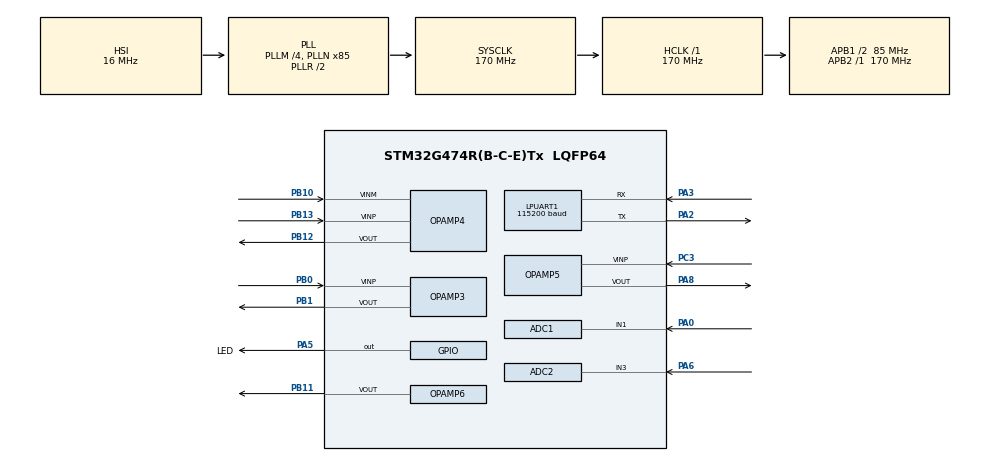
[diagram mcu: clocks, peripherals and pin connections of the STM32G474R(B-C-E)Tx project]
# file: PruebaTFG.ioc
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ADC1.Channel-2\#ChannelRegularConversion=ADC_CHANNEL_1
ADC1.ContinuousConvMode=DISABLE
ADC1.ExternalTrigConv=ADC_EXTERNALTRIG_T3_TRGO
ADC1.ExternalTrigConvEdge=ADC_EXTERNALTRIGCONVEDGE_FALLING
ADC1.NbrOfConversionFlag=1
ADC1.OffsetNumber-2\#ChannelRegularConversion=ADC_OFFSET_NONE
ADC1.Rank-2\#ChannelRegularConversion=1
ADC1.SamplingTime-2\#ChannelRegularConversion=ADC_SAMPLETIME_2CYCLES_5
ADC1.master=1
ADC2.Channel-0\#ChannelRegularConversion=ADC_CHANNEL_3
ADC2.ExternalTrigConv=ADC_EXTERNALTRIG_T3_TRGO
ADC2.ExternalTrigConvEdge=ADC_EXTERNALTRIGCONVEDGE_FALLING
ADC2.NbrOfConversionFlag=1
ADC2.OffsetNumber-0\#ChannelRegularConversion=ADC_OFFSET_NONE
ADC2.Rank-0\#ChannelRegularConversion=1
ADC2.SamplingTime-0\#ChannelRegularConversion=ADC_SAMPLETIME_2CYCLES_5
DAC3.DAC_Trigger_OUT1-DAC_OUT1_Int=DAC_TRIGGER_T3_TRGO
Dma.ADC1.2.Direction=DMA_PERIPH_TO_MEMORY
Dma.ADC1.2.EventEnable=DISABLE
Dma.ADC1.2.Instance=DMA1_Channel2
Dma.ADC1.2.MemDataAlignment=DMA_MDATAALIGN_WORD
Dma.ADC1.2.MemInc=DMA_MINC_ENABLE
Dma.ADC1.2.Mode=DMA_CIRCULAR
Dma.ADC1.2.PeriphDataAlignment=DMA_PDATAALIGN_WORD
Dma.ADC1.2.PeriphInc=DMA_PINC_DISABLE
Dma.ADC1.2.Polarity=HAL_DMAMUX_REQ_GEN_RISING
Dma.ADC1.2.Priority=DMA_PRIORITY_HIGH
Dma.ADC1.2.RequestNumber=1
Dma.ADC1.2.SignalID=NONE
Dma.ADC1.2.SyncEnable=DISABLE
Dma.ADC1.2.SyncPolarity=HAL_DMAMUX_SYNC_NO_EVENT
Dma.ADC1.2.SyncRequestNumber=1
Dma.ADC1.2.SyncSignalID=NONE
Dma.ADC2.1.Direction=DMA_PERIPH_TO_MEMORY
Dma.ADC2.1.EventEnable=DISABLE
Dma.ADC2.1.Instance=DMA1_Channel3
Dma.ADC2.1.MemDataAlignment=DMA_MDATAALIGN_WORD
Dma.ADC2.1.MemInc=DMA_MINC_ENABLE
Dma.ADC2.1.Mode=DMA_CIRCULAR
Dma.ADC2.1.PeriphDataAlignment=DMA_PDATAALIGN_WORD
Dma.ADC2.1.PeriphInc=DMA_PINC_DISABLE
Dma.ADC2.1.Polarity=HAL_DMAMUX_REQ_GEN_RISING
Dma.ADC2.1.Priority=DMA_PRIORITY_HIGH
Dma.ADC2.1.RequestNumber=1
Dma.ADC2.1.SignalID=NONE
Dma.ADC2.1.SyncEnable=DISABLE
Dma.ADC2.1.SyncPolarity=HAL_DMAMUX_SYNC_NO_EVENT
Dma.ADC2.1.SyncRequestNumber=1
Dma.ADC2.1.SyncSignalID=NONE
Dma.DAC3_CH1.0.Direction=DMA_MEMORY_TO_PERIPH
Dma.DAC3_CH1.0.EventEnable=DISABLE
Dma.DAC3_CH1.0.Instance=DMA1_Channel1
Dma.DAC3_CH1.0.MemDataAlignment=DMA_MDATAALIGN_WORD
Dma.DAC3_CH1.0.MemInc=DMA_MINC_ENABLE
Dma.DAC3_CH1.0.Mode=DMA_CIRCULAR
Dma.DAC3_CH1.0.PeriphDataAlignment=DMA_PDATAALIGN_WORD
Dma.DAC3_CH1.0.PeriphInc=DMA_PINC_DISABLE
Dma.DAC3_CH1.0.Polarity=HAL_DMAMUX_REQ_GEN_RISING
Dma.DAC3_CH1.0.Priority=DMA_PRIORITY_HIGH
Dma.DAC3_CH1.0.RequestNumber=1
Dma.DAC3_CH1.0.SignalID=NONE
Dma.DAC3_CH1.0.SyncEnable=DISABLE
Dma.DAC3_CH1.0.SyncPolarity=HAL_DMAMUX_SYNC_NO_EVENT
Dma.DAC3_CH1.0.SyncRequestNumber=1
Dma.DAC3_CH1.0.SyncSignalID=NONE
Dma.Request0=DAC3_CH1
Dma.Request1=ADC2
Dma.Request2=ADC1
LPUART1.BaudRate=115200
Mcu.Family=STM32G4
Mcu.Name=STM32G474R(B-C-E)Tx
Mcu.Package=LQFP64
NVIC.DMA1_Channel1_IRQn=true\:0\:0\:false\:false\:true\:false\:true\:true
NVIC.DMA1_Channel2_IRQn=true\:0\:0\:false\:false\:true\:false\:true\:true
NVIC.DMA1_Channel3_IRQn=true\:0\:0\:false\:false\:true\:false\:true\:true
NVIC.PriorityGroup=NVIC_PRIORITYGROUP_4
NVIC.TIM3_IRQn=true\:0\:0\:false\:false\:true\:true\:true\:true
OPAMP3.PowerMode=OPAMP_POWERMODE_HIGHSPEED
OPAMP4.PowerMode=OPAMP_POWERMODE_HIGHSPEED
PA0.Mode=IN1-Single-Ended
PA0.Signal=ADC1_IN1
PA2.Mode=Asynchronous
PA2.Signal=LPUART1_TX
PA3.Mode=Asynchronous
PA3.Signal=LPUART1_RX
PA5.GPIO_Label=LED
PA5.Signal=GPIO_Output
PA6.Mode=IN3-Single-Ended
PA6.Signal=ADC2_IN3
PA8.Mode=Follower
PA8.Signal=OPAMP5_VOUT
PB0.Mode=Follower
PB0.Signal=OPAMP3_VINP
PB1.Mode=Follower
PB1.Signal=OPAMP3_VOUT
PB10.Mode=Standalone
PB10.Signal=OPAMP4_VINM
PB11.Mode=Follower-DAC_OUT2-INP
PB11.Signal=OPAMP6_VOUT
PB12.Mode=Standalone
PB12.Signal=OPAMP4_VOUT
PB13.Mode=Standalone
PB13.Signal=OPAMP4_VINP
PC3.Mode=Follower
PC3.Signal=OPAMP5_VINP
ProjectManager.HeapSize=0x200
ProjectManager.StackSize=0x400
ProjectManager.TargetToolchain=STM32CubeIDE
RCC.ADC12Freq_Value=170000000
RCC.ADC345Freq_Value=170000000
RCC.AHBFreq_Value=170000000
RCC.APB1CLKDivider=RCC_HCLK_DIV2
RCC.APB1Freq_Value=85000000
RCC.APB1TimFreq_Value=170000000
RCC.APB2Freq_Value=170000000
RCC.APB2TimFreq_Value=170000000
RCC.CortexFreq_Value=170000000
RCC.EXTERNAL_CLOCK_VALUE=12288000
RCC.HCLKFreq_Value=170000000
RCC.HSE_VALUE=8000000
RCC.HSI48_VALUE=48000000
RCC.HSI_VALUE=16000000
RCC.LSE_VALUE=32768
RCC.PLLM=RCC_PLLM_DIV4
RCC.PLLN=85
RCC.SYSCLKFreq_VALUE=170000000
RCC.SYSCLKSource=RCC_SYSCLKSOURCE_PLLCLK
RCC.USBFreq_Value=170000000
RCC.VCOOutputFreq_Value=340000000
TIM3.PeriodNoDither=52
TIM3.Prescaler=1
TIM3.TIM_MasterOutputTrigger=TIM_TRGO_UPDATE
VP_DAC3_VS_DACI1.Mode=DAC_OUT1_Int
VP_TIM3_VS_ClockSourceINT.Mode=Internal
board=custom

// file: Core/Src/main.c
/* USER CODE BEGIN Header */
/**
  ******************************************************************************
  * @file           : main.c
  * @brief          : Main program body
  ******************************************************************************
  * @attention
  *
  * Copyright (c) 2023 STMicroelectronics.
  * All rights reserved.
  *
  * This software is licensed under terms that can be found in the LICENSE file
  * in the root directory of this software component.
  * If no LICENSE file comes with this software, it is provided AS-IS.
  *
  ******************************************************************************
  */
/* USER CODE END Header */
#include "main.h"

/* USER CODE BEGIN Includes */
#include "math.h"
/* USER CODE END Includes */

ADC_HandleTypeDef hadc1;
ADC_HandleTypeDef hadc2;
DMA_HandleTypeDef hdma_adc1;
DMA_HandleTypeDef hdma_adc2;

DAC_HandleTypeDef hdac3;
DMA_HandleTypeDef hdma_dac3_ch1;

UART_HandleTypeDef hlpuart1;

OPAMP_HandleTypeDef hopamp3;
OPAMP_HandleTypeDef hopamp4;
OPAMP_HandleTypeDef hopamp5;
OPAMP_HandleTypeDef hopamp6;

TIM_HandleTypeDef htim3;

/* USER CODE BEGIN PV */

uint32_t frequency = 100000; //Frecuencia en Hz

#define TAM_LUT 32
uint32_t amp = 2048;
uint32_t lut[TAM_LUT] = {0};
uint32_t lut_size = sizeof(lut)/sizeof(lut[0]);
#define TAM_BUFFER TAM_LUT*10
uint32_t adc1_buffer[TAM_BUFFER] = {0};
uint32_t adc2_buffer[TAM_BUFFER] = {0};
/* USER CODE END PV */

void SystemClock_Config(void);
static void MX_DMA_Init(void);
static void MX_GPIO_Init(void);
static void MX_TIM3_Init(void);
static void MX_DAC3_Init(void);
static void MX_OPAMP6_Init(void);
static void MX_ADC1_Init(void);
static void MX_OPAMP3_Init(void);
static void MX_OPAMP4_Init(void);
static void MX_OPAMP5_Init(void);
static void MX_ADC2_Init(void);
static void MX_LPUART1_UART_Init(void);
/* USER CODE BEGIN PFP */
#ifdef __GNUC__
#define PUTCHAR_PROTOTYPE int __io_putchar(int ch)
#else
#define PUTCHAR_PROTOTYPE int fputc(int ch, FILE *f)
#endif
/* USER CODE END PFP */

int main(void)
{

  /* MCU Configuration--------------------------------------------------------*/

  /* Reset of all peripherals, Initializes the Flash interface and the Systick. */
  HAL_Init();

  /* Configure the system clock */
  SystemClock_Config();

  /* Initialize all configured peripherals */
  MX_DMA_Init();
  MX_GPIO_Init();
  MX_TIM3_Init();
  MX_DAC3_Init();
  MX_OPAMP6_Init();
  MX_ADC1_Init();
  MX_OPAMP3_Init();
  MX_OPAMP4_Init();
  MX_OPAMP5_Init();
  MX_ADC2_Init();
  MX_LPUART1_UART_Init();
  /* USER CODE BEGIN 2 */

  printf("Hello World %i\n", 12);

  HAL_TIM_Base_DeInit(&htim3);

  ajustaTimers();
  calculaLut();

  //Timers
  if (HAL_TIM_Base_Init(&htim3) != HAL_OK){Error_Handler();}

  HAL_TIM_Base_Start(&htim3);

  //OPAMS
  if(HAL_OK != HAL_OPAMP_Start(&hopamp6)) { Error_Handler();}
  if(HAL_OK != HAL_OPAMP_Start(&hopamp4)) { Error_Handler();}
  if(HAL_OK != HAL_OPAMP_Start(&hopamp3)) { Error_Handler();}

  if(HAL_OK != HAL_OPAMP_Start(&hopamp5)) { Error_Handler();}

  //DAC
  if(HAL_DACEx_DualSetValue(&hdac3, DAC_ALIGN_12B_R, 0, 0) != HAL_OK) {
	  Error_Handler();
  }
  if(HAL_DACEx_DualStart_DMA(&hdac3,DAC_CHANNEL_1,(uint32_t*)lut,lut_size,DAC_ALIGN_12B_R)!= HAL_OK){
	  Error_Handler();
  }

  HAL_Delay(10);		// Wait 10ms so that the signal is stable.

  //ADC
  if (HAL_ADC_Start_DMA(&hadc1,(uint32_t *)adc1_buffer,TAM_BUFFER) != HAL_OK){
	  Error_Handler();
  }
  if (HAL_ADC_Start_DMA(&hadc2,(uint32_t *)adc2_buffer,TAM_BUFFER) != HAL_OK){
	  Error_Handler();
  }
  /* USER CODE END 2 */

  /* Infinite loop */
  /* USER CODE BEGIN WHILE */
  while (1)
  {

	HAL_GPIO_TogglePin(LED_GPIO_Port, LED_Pin);
	HAL_Delay(1000);

	printf("<M1>");
	for(int j=0; j<TAM_BUFFER; j++){
		printf("%d,",adc1_buffer[j]);
	}
	printf("</M1>\n\r");

	printf("<M2>");
	for(int j=0; j<TAM_BUFFER; j++){
		printf("%d,",adc2_buffer[j]);
	}
	printf("</M2>\n\r");

    /* USER CODE END WHILE */

  }
}

void SystemClock_Config(void)
{
  RCC_OscInitTypeDef RCC_OscInitStruct = {0};
  RCC_ClkInitTypeDef RCC_ClkInitStruct = {0};

  /** Configure the main internal regulator output voltage
  */
  HAL_PWREx_ControlVoltageScaling(PWR_REGULATOR_VOLTAGE_SCALE1_BOOST);

  /** Initializes the RCC Oscillators according to the specified parameters
  * in the RCC_OscInitTypeDef structure.
  */
  RCC_OscInitStruct.OscillatorType = RCC_OSCILLATORTYPE_HSI;
  RCC_OscInitStruct.HSIState = RCC_HSI_ON;
  RCC_OscInitStruct.HSICalibrationValue = RCC_HSICALIBRATION_DEFAULT;
  RCC_OscInitStruct.PLL.PLLState = RCC_PLL_ON;
  RCC_OscInitStruct.PLL.PLLSource = RCC_PLLSOURCE_HSI;
  RCC_OscInitStruct.PLL.PLLM = RCC_PLLM_DIV4;
  RCC_OscInitStruct.PLL.PLLN = 85;
  RCC_OscInitStruct.PLL.PLLP = RCC_PLLP_DIV2;
  RCC_OscInitStruct.PLL.PLLQ = RCC_PLLQ_DIV2;
  RCC_OscInitStruct.PLL.PLLR = RCC_PLLR_DIV2;
  if (HAL_RCC_OscConfig(&RCC_OscInitStruct) != HAL_OK)
  {
    Error_Handler();
  }

  /** Initializes the CPU, AHB and APB buses clocks
  */
  RCC_ClkInitStruct.ClockType = RCC_CLOCKTYPE_HCLK|RCC_CLOCKTYPE_SYSCLK
                              |RCC_CLOCKTYPE_PCLK1|RCC_CLOCKTYPE_PCLK2;
  RCC_ClkInitStruct.SYSCLKSource = RCC_SYSCLKSOURCE_PLLCLK;
  RCC_ClkInitStruct.AHBCLKDivider = RCC_SYSCLK_DIV1;
  RCC_ClkInitStruct.APB1CLKDivider = RCC_HCLK_DIV2;
  RCC_ClkInitStruct.APB2CLKDivider = RCC_HCLK_DIV1;

  if (HAL_RCC_ClockConfig(&RCC_ClkInitStruct, FLASH_LATENCY_4) != HAL_OK)
  {
    Error_Handler();
  }
}

static void MX_ADC1_Init(void)
{

  ADC_MultiModeTypeDef multimode = {0};
  ADC_ChannelConfTypeDef sConfig = {0};

  /** Common config
  */
  hadc1.Instance = ADC1;
  hadc1.Init.ClockPrescaler = ADC_CLOCK_SYNC_PCLK_DIV4;
  hadc1.Init.Resolution = ADC_RESOLUTION_12B;
  hadc1.Init.DataAlign = ADC_DATAALIGN_RIGHT;
  hadc1.Init.GainCompensation = 0;
  hadc1.Init.ScanConvMode = ADC_SCAN_DISABLE;
  hadc1.Init.EOCSelection = ADC_EOC_SINGLE_CONV;
  hadc1.Init.LowPowerAutoWait = DISABLE;
  hadc1.Init.ContinuousConvMode = DISABLE;
  hadc1.Init.NbrOfConversion = 1;
  hadc1.Init.DiscontinuousConvMode = DISABLE;
  hadc1.Init.ExternalTrigConv = ADC_EXTERNALTRIG_T3_TRGO;
  hadc1.Init.ExternalTrigConvEdge = ADC_EXTERNALTRIGCONVEDGE_FALLING;
  hadc1.Init.DMAContinuousRequests = DISABLE;
  hadc1.Init.Overrun = ADC_OVR_DATA_PRESERVED;
  hadc1.Init.OversamplingMode = DISABLE;
  if (HAL_ADC_Init(&hadc1) != HAL_OK)
  {
    Error_Handler();
  }

  /** Configure the ADC multi-mode
  */
  multimode.Mode = ADC_MODE_INDEPENDENT;
  if (HAL_ADCEx_MultiModeConfigChannel(&hadc1, &multimode) != HAL_OK)
  {
    Error_Handler();
  }

  /** Configure Regular Channel
  */
  sConfig.Channel = ADC_CHANNEL_1;
  sConfig.Rank = ADC_REGULAR_RANK_1;
  sConfig.SamplingTime = ADC_SAMPLETIME_2CYCLES_5;
  sConfig.SingleDiff = ADC_SINGLE_ENDED;
  sConfig.OffsetNumber = ADC_OFFSET_NONE;
  sConfig.Offset = 0;
  if (HAL_ADC_ConfigChannel(&hadc1, &sConfig) != HAL_OK)
  {
    Error_Handler();
  }

}

static void MX_ADC2_Init(void)
{

  ADC_ChannelConfTypeDef sConfig = {0};

  /** Common config
  */
  hadc2.Instance = ADC2;
  hadc2.Init.ClockPrescaler = ADC_CLOCK_SYNC_PCLK_DIV4;
  hadc2.Init.Resolution = ADC_RESOLUTION_12B;
  hadc2.Init.DataAlign = ADC_DATAALIGN_RIGHT;
  hadc2.Init.GainCompensation = 0;
  hadc2.Init.ScanConvMode = ADC_SCAN_DISABLE;
  hadc2.Init.EOCSelection = ADC_EOC_SINGLE_CONV;
  hadc2.Init.LowPowerAutoWait = DISABLE;
  hadc2.Init.ContinuousConvMode = DISABLE;
  hadc2.Init.NbrOfConversion = 1;
  hadc2.Init.DiscontinuousConvMode = DISABLE;
  hadc2.Init.ExternalTrigConv = ADC_EXTERNALTRIG_T3_TRGO;
  hadc2.Init.ExternalTrigConvEdge = ADC_EXTERNALTRIGCONVEDGE_FALLING;
  hadc2.Init.DMAContinuousRequests = DISABLE;
  hadc2.Init.Overrun = ADC_OVR_DATA_PRESERVED;
  hadc2.Init.OversamplingMode = DISABLE;
  if (HAL_ADC_Init(&hadc2) != HAL_OK)
  {
    Error_Handler();
  }

  /** Configure Regular Channel
  */
  sConfig.Channel = ADC_CHANNEL_3;
  sConfig.Rank = ADC_REGULAR_RANK_1;
  sConfig.SamplingTime = ADC_SAMPLETIME_2CYCLES_5;
  sConfig.SingleDiff = ADC_SINGLE_ENDED;
  sConfig.OffsetNumber = ADC_OFFSET_NONE;
  sConfig.Offset = 0;
  if (HAL_ADC_ConfigChannel(&hadc2, &sConfig) != HAL_OK)
  {
    Error_Handler();
  }

}

static void MX_DAC3_Init(void)
{

  DAC_ChannelConfTypeDef sConfig = {0};

  /** DAC Initialization
  */
  hdac3.Instance = DAC3;
  if (HAL_DAC_Init(&hdac3) != HAL_OK)
  {
    Error_Handler();
  }

  /** DAC channel OUT1 config
  */
  sConfig.DAC_HighFrequency = DAC_HIGH_FREQUENCY_INTERFACE_MODE_AUTOMATIC;
  sConfig.DAC_DMADoubleDataMode = DISABLE;
  sConfig.DAC_SignedFormat = DISABLE;
  sConfig.DAC_SampleAndHold = DAC_SAMPLEANDHOLD_DISABLE;
  sConfig.DAC_Trigger = DAC_TRIGGER_T3_TRGO;
  sConfig.DAC_Trigger2 = DAC_TRIGGER_NONE;
  sConfig.DAC_OutputBuffer = DAC_OUTPUTBUFFER_DISABLE;
  sConfig.DAC_ConnectOnChipPeripheral = DAC_CHIPCONNECT_INTERNAL;
  sConfig.DAC_UserTrimming = DAC_TRIMMING_FACTORY;
  if (HAL_DAC_ConfigChannel(&hdac3, &sConfig, DAC_CHANNEL_1) != HAL_OK)
  {
    Error_Handler();
  }

}

static void MX_LPUART1_UART_Init(void)
{

  hlpuart1.Instance = LPUART1;
  hlpuart1.Init.BaudRate = 115200;
  hlpuart1.Init.WordLength = UART_WORDLENGTH_8B;
  hlpuart1.Init.StopBits = UART_STOPBITS_1;
  hlpuart1.Init.Parity = UART_PARITY_NONE;
  hlpuart1.Init.Mode = UART_MODE_TX_RX;
  hlpuart1.Init.HwFlowCtl = UART_HWCONTROL_NONE;
  hlpuart1.Init.OneBitSampling = UART_ONE_BIT_SAMPLE_DISABLE;
  hlpuart1.Init.ClockPrescaler = UART_PRESCALER_DIV1;
  hlpuart1.AdvancedInit.AdvFeatureInit = UART_ADVFEATURE_NO_INIT;
  if (HAL_UART_Init(&hlpuart1) != HAL_OK)
  {
    Error_Handler();
  }
  if (HAL_UARTEx_SetTxFifoThreshold(&hlpuart1, UART_TXFIFO_THRESHOLD_1_8) != HAL_OK)
  {
    Error_Handler();
  }
  if (HAL_UARTEx_SetRxFifoThreshold(&hlpuart1, UART_RXFIFO_THRESHOLD_1_8) != HAL_OK)
  {
    Error_Handler();
  }
  if (HAL_UARTEx_DisableFifoMode(&hlpuart1) != HAL_OK)
  {
    Error_Handler();
  }

}

static void MX_OPAMP3_Init(void)
{

  hopamp3.Instance = OPAMP3;
  hopamp3.Init.PowerMode = OPAMP_POWERMODE_HIGHSPEED;
  hopamp3.Init.Mode = OPAMP_FOLLOWER_MODE;
  hopamp3.Init.NonInvertingInput = OPAMP_NONINVERTINGINPUT_IO0;
  hopamp3.Init.InternalOutput = DISABLE;
  hopamp3.Init.TimerControlledMuxmode = OPAMP_TIMERCONTROLLEDMUXMODE_DISABLE;
  hopamp3.Init.UserTrimming = OPAMP_TRIMMING_FACTORY;
  if (HAL_OPAMP_Init(&hopamp3) != HAL_OK)
  {
    Error_Handler();
  }

}

static void MX_OPAMP4_Init(void)
{

  hopamp4.Instance = OPAMP4;
  hopamp4.Init.PowerMode = OPAMP_POWERMODE_HIGHSPEED;
  hopamp4.Init.Mode = OPAMP_STANDALONE_MODE;
  hopamp4.Init.InvertingInput = OPAMP_INVERTINGINPUT_IO0;
  hopamp4.Init.NonInvertingInput = OPAMP_NONINVERTINGINPUT_IO0;
  hopamp4.Init.InternalOutput = DISABLE;
  hopamp4.Init.TimerControlledMuxmode = OPAMP_TIMERCONTROLLEDMUXMODE_DISABLE;
  hopamp4.Init.UserTrimming = OPAMP_TRIMMING_FACTORY;
  if (HAL_OPAMP_Init(&hopamp4) != HAL_OK)
  {
    Error_Handler();
  }

}

static void MX_OPAMP5_Init(void)
{

  hopamp5.Instance = OPAMP5;
  hopamp5.Init.PowerMode = OPAMP_POWERMODE_NORMALSPEED;
  hopamp5.Init.Mode = OPAMP_FOLLOWER_MODE;
  hopamp5.Init.NonInvertingInput = OPAMP_NONINVERTINGINPUT_IO2;
  hopamp5.Init.InternalOutput = DISABLE;
  hopamp5.Init.TimerControlledMuxmode = OPAMP_TIMERCONTROLLEDMUXMODE_DISABLE;
  hopamp5.Init.UserTrimming = OPAMP_TRIMMING_FACTORY;
  if (HAL_OPAMP_Init(&hopamp5) != HAL_OK)
  {
    Error_Handler();
  }

}

static void MX_OPAMP6_Init(void)
{

  hopamp6.Instance = OPAMP6;
  hopamp6.Init.PowerMode = OPAMP_POWERMODE_NORMALSPEED;
  hopamp6.Init.Mode = OPAMP_FOLLOWER_MODE;
  hopamp6.Init.NonInvertingInput = OPAMP_NONINVERTINGINPUT_DAC;
  hopamp6.Init.InternalOutput = DISABLE;
  hopamp6.Init.TimerControlledMuxmode = OPAMP_TIMERCONTROLLEDMUXMODE_DISABLE;
  hopamp6.Init.UserTrimming = OPAMP_TRIMMING_FACTORY;
  if (HAL_OPAMP_Init(&hopamp6) != HAL_OK)
  {
    Error_Handler();
  }

}

static void MX_TIM3_Init(void)
{

  TIM_ClockConfigTypeDef sClockSourceConfig = {0};
  TIM_MasterConfigTypeDef sMasterConfig = {0};

  htim3.Instance = TIM3;
  htim3.Init.Prescaler = 1;
  htim3.Init.CounterMode = TIM_COUNTERMODE_UP;
  htim3.Init.Period = 52;
  htim3.Init.ClockDivision = TIM_CLOCKDIVISION_DIV1;
  htim3.Init.AutoReloadPreload = TIM_AUTORELOAD_PRELOAD_DISABLE;
  if (HAL_TIM_Base_Init(&htim3) != HAL_OK)
  {
    Error_Handler();
  }
  sClockSourceConfig.ClockSource = TIM_CLOCKSOURCE_INTERNAL;
  if (HAL_TIM_ConfigClockSource(&htim3, &sClockSourceConfig) != HAL_OK)
  {
    Error_Handler();
  }
  sMasterConfig.MasterOutputTrigger = TIM_TRGO_UPDATE;
  sMasterConfig.MasterSlaveMode = TIM_MASTERSLAVEMODE_DISABLE;
  if (HAL_TIMEx_MasterConfigSynchronization(&htim3, &sMasterConfig) != HAL_OK)
  {
    Error_Handler();
  }

}

static void MX_DMA_Init(void)
{

  /* DMA controller clock enable */
  __HAL_RCC_DMAMUX1_CLK_ENABLE();
  __HAL_RCC_DMA1_CLK_ENABLE();

  /* DMA interrupt init */
  /* DMA1_Channel1_IRQn interrupt configuration */
  HAL_NVIC_SetPriority(DMA1_Channel1_IRQn, 0, 0);
  HAL_NVIC_EnableIRQ(DMA1_Channel1_IRQn);
  /* DMA1_Channel2_IRQn interrupt configuration */
  HAL_NVIC_SetPriority(DMA1_Channel2_IRQn, 0, 0);
  HAL_NVIC_EnableIRQ(DMA1_Channel2_IRQn);
  /* DMA1_Channel3_IRQn interrupt configuration */
  HAL_NVIC_SetPriority(DMA1_Channel3_IRQn, 0, 0);
  HAL_NVIC_EnableIRQ(DMA1_Channel3_IRQn);

}

static void MX_GPIO_Init(void)
{
  GPIO_InitTypeDef GPIO_InitStruct = {0};

  /* GPIO Ports Clock Enable */
  __HAL_RCC_GPIOC_CLK_ENABLE();
  __HAL_RCC_GPIOA_CLK_ENABLE();
  __HAL_RCC_GPIOB_CLK_ENABLE();

  /*Configure GPIO pin Output Level */
  HAL_GPIO_WritePin(LED_GPIO_Port, LED_Pin, GPIO_PIN_RESET);

  /*Configure GPIO pin : LED_Pin */
  GPIO_InitStruct.Pin = LED_Pin;
  GPIO_InitStruct.Mode = GPIO_MODE_OUTPUT_PP;
  GPIO_InitStruct.Pull = GPIO_NOPULL;
  GPIO_InitStruct.Speed = GPIO_SPEED_FREQ_LOW;
  HAL_GPIO_Init(LED_GPIO_Port, &GPIO_InitStruct);

}

/* USER CODE BEGIN 4 */
PUTCHAR_PROTOTYPE{
	HAL_UART_Transmit(&hlpuart1, (uint8_t *) &ch, 1, 0xFFFF);
	return ch;
}

void calculaLut(){
	float step = 2*M_PI/TAM_LUT;
	uint32_t i = 0;
	while(i < TAM_LUT){
		//sin(TAM_LUT/4*step) = 0xFFF
		uint32_t v = (uint32_t)((sin(i * step)*amp/sin(2*M_PI/4))+amp);
		lut[i] = v;
		i++;
	}
}

void ajustaTimers(){
	//TIM3 preescaler y periodo
	//170Mhz clock
	//100mhz-500khz
	//100mhz,1hz,10hz,50hz,100hz,200hz,500hz,700hz,1khz,10khz,50khz,100khz,200khz,500khz
	//f_deseada = f_timer/((ARR+1)x(PSC+1))
	//tim3 ARR 16 bits - PSC 16 bits
	switch(frequency){
		case 11://0.1 100mHz
			htim3.Init.Prescaler = 2999;

			htim3.Init.Period = 17740;
			break;
		case 1://1
			htim3.Init.Prescaler = 299;

			htim3.Init.Period = 17740;
			break;
		case 10://10
			htim3.Init.Prescaler = 29;

			htim3.Init.Period = 17740;
			break;
		case 50://50
			htim3.Init.Prescaler = 5;

			htim3.Init.Period = 17740;
			break;
		case 100://100
			htim3.Init.Prescaler = 2;

			htim3.Init.Period = 17740;
			break;
		case 200://200
			htim3.Init.Prescaler = 2;

			htim3.Init.Period = 8870;
			break;
		case 500: //500
			htim3.Init.Prescaler = 4;

			htim3.Init.Period = 2129;
			break;
		case 700://700
			htim3.Init.Prescaler = 3;

			htim3.Init.Period = 60819;
			break;
		case 1000://1000
			htim3.Init.Prescaler = 2;

			htim3.Init.Period = 1774;
			break;
		case 10000://10000
			htim3.Init.Prescaler = 2;

			htim3.Init.Period = 177;
			break;
		case 50000://50000
			htim3.Init.Prescaler = 0;

			htim3.Init.Period = 105;
			break;
		case 100000://100000
			htim3.Init.Prescaler = 0;

			htim3.Init.Period = 52;
			break;
		case 200000://200000
			htim3.Init.Prescaler = 0;

			htim3.Init.Period = 25;
			break;
		case 500000://500000
			htim3.Init.Prescaler = 0;

			htim3.Init.Period = 4;
			break;
		default:
			htim3.Init.Prescaler = 0;

			htim3.Init.Period = 4;
			break;

	}
}
/* USER CODE END 4 */

void Error_Handler(void)
{
  /* USER CODE BEGIN Error_Handler_Debug */
  /* User can add his own implementation to report the HAL error return state */
  __disable_irq();
  while (1)
  {
	  HAL_GPIO_WritePin(LED_GPIO_Port, LED_Pin,GPIO_PIN_SET);
  }
  /* USER CODE END Error_Handler_Debug */
}
